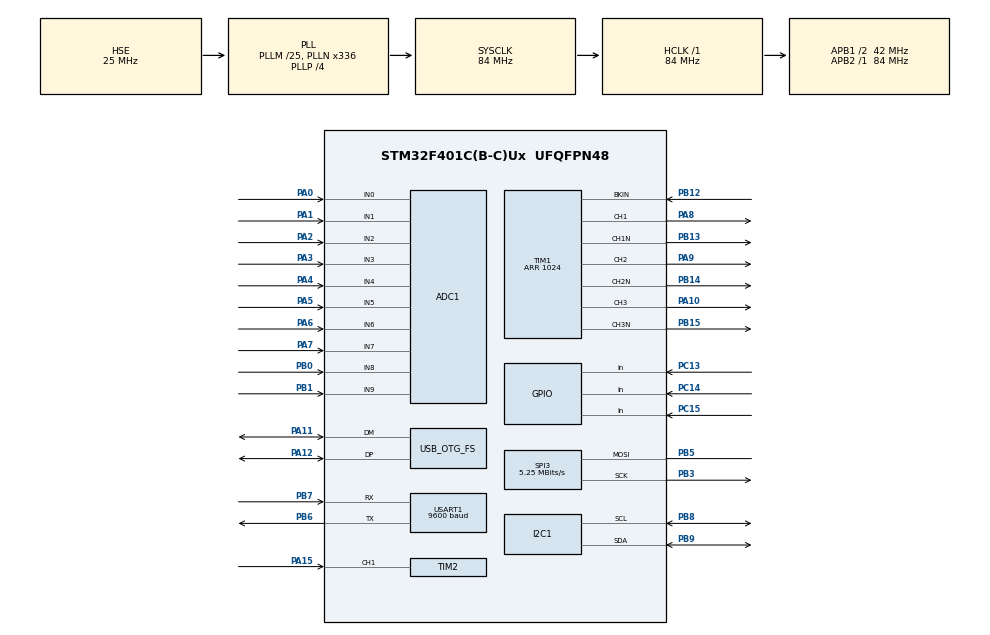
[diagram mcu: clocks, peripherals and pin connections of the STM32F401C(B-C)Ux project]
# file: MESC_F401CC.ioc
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ADC1.Channel-0\#ChannelRegularConversion=ADC_CHANNEL_5
ADC1.Channel-1\#ChannelInjectedConversion=ADC_CHANNEL_2
ADC1.Channel-2\#ChannelInjectedConversion=ADC_CHANNEL_3
ADC1.Channel-3\#ChannelInjectedConversion=ADC_CHANNEL_4
ADC1.Channel-4\#ChannelInjectedConversion=ADC_CHANNEL_1
ADC1.Channel-5\#ChannelRegularConversion=ADC_CHANNEL_6
ADC1.Channel-6\#ChannelRegularConversion=ADC_CHANNEL_8
ADC1.Channel-7\#ChannelRegularConversion=ADC_CHANNEL_0
ADC1.Channel-8\#ChannelRegularConversion=ADC_CHANNEL_7
ADC1.Channel-9\#ChannelRegularConversion=ADC_CHANNEL_9
ADC1.DMAContinuousRequests=ENABLE
ADC1.EOCSelection=ADC_EOC_SEQ_CONV
ADC1.EnableAnalogWatchDog=true
ADC1.ExternalTrigConv=ADC_SOFTWARE_START
ADC1.ExternalTrigInjecConv=ADC_EXTERNALTRIGINJECCONV_T1_TRGO
ADC1.ExternalTrigInjecConvEdge=ADC_EXTERNALTRIGINJECCONVEDGE_RISING
ADC1.HighThreshold=4048
ADC1.ITMode=ENABLE
ADC1.InjNumberOfConversion=4
ADC1.InjectedOffset-1\#ChannelInjectedConversion=0
ADC1.InjectedOffset-2\#ChannelInjectedConversion=0
ADC1.InjectedOffset-3\#ChannelInjectedConversion=0
ADC1.InjectedOffset-4\#ChannelInjectedConversion=0
ADC1.InjectedRank-1\#ChannelInjectedConversion=1
ADC1.InjectedRank-2\#ChannelInjectedConversion=2
ADC1.InjectedRank-3\#ChannelInjectedConversion=3
ADC1.InjectedRank-4\#ChannelInjectedConversion=4
ADC1.LowThreshold=48
ADC1.NbrOfConversion=6
ADC1.NbrOfConversionFlag=1
ADC1.Rank-0\#ChannelRegularConversion=1
ADC1.Rank-5\#ChannelRegularConversion=2
ADC1.Rank-6\#ChannelRegularConversion=3
ADC1.Rank-7\#ChannelRegularConversion=4
ADC1.Rank-8\#ChannelRegularConversion=5
ADC1.Rank-9\#ChannelRegularConversion=6
ADC1.SamplingTime-0\#ChannelRegularConversion=ADC_SAMPLETIME_15CYCLES
ADC1.SamplingTime-1\#ChannelInjectedConversion=ADC_SAMPLETIME_3CYCLES
ADC1.SamplingTime-2\#ChannelInjectedConversion=ADC_SAMPLETIME_3CYCLES
ADC1.SamplingTime-3\#ChannelInjectedConversion=ADC_SAMPLETIME_3CYCLES
ADC1.SamplingTime-4\#ChannelInjectedConversion=ADC_SAMPLETIME_15CYCLES
ADC1.SamplingTime-5\#ChannelRegularConversion=ADC_SAMPLETIME_15CYCLES
ADC1.SamplingTime-6\#ChannelRegularConversion=ADC_SAMPLETIME_15CYCLES
ADC1.SamplingTime-7\#ChannelRegularConversion=ADC_SAMPLETIME_15CYCLES
ADC1.SamplingTime-8\#ChannelRegularConversion=ADC_SAMPLETIME_15CYCLES
ADC1.SamplingTime-9\#ChannelRegularConversion=ADC_SAMPLETIME_15CYCLES
ADC1.ScanConvMode=ENABLE
ADC1.WatchdogMode=ADC_ANALOGWATCHDOG_ALL_INJEC
ADC1.master=1
Dma.ADC1.0.Direction=DMA_PERIPH_TO_MEMORY
Dma.ADC1.0.FIFOMode=DMA_FIFOMODE_DISABLE
Dma.ADC1.0.Instance=DMA2_Stream0
Dma.ADC1.0.MemDataAlignment=DMA_MDATAALIGN_WORD
Dma.ADC1.0.MemInc=DMA_MINC_ENABLE
Dma.ADC1.0.Mode=DMA_CIRCULAR
Dma.ADC1.0.PeriphDataAlignment=DMA_PDATAALIGN_WORD
Dma.ADC1.0.PeriphInc=DMA_PINC_DISABLE
Dma.ADC1.0.Priority=DMA_PRIORITY_LOW
Dma.Request0=ADC1
Dma.Request1=USART1_TX
Dma.USART1_TX.1.Direction=DMA_MEMORY_TO_PERIPH
Dma.USART1_TX.1.FIFOMode=DMA_FIFOMODE_DISABLE
Dma.USART1_TX.1.Instance=DMA2_Stream7
Dma.USART1_TX.1.MemDataAlignment=DMA_MDATAALIGN_BYTE
Dma.USART1_TX.1.MemInc=DMA_MINC_ENABLE
Dma.USART1_TX.1.Mode=DMA_NORMAL
Dma.USART1_TX.1.PeriphDataAlignment=DMA_PDATAALIGN_BYTE
Dma.USART1_TX.1.PeriphInc=DMA_PINC_DISABLE
Dma.USART1_TX.1.Priority=DMA_PRIORITY_LOW
Mcu.Family=STM32F4
Mcu.Name=STM32F401C(B-C)Ux
Mcu.Package=UFQFPN48
NVIC.ADC_IRQn=true\:2\:0\:true\:false\:true\:true\:false\:true
NVIC.DMA2_Stream7_IRQn=true\:6\:0\:true\:false\:true\:true\:true\:true
NVIC.OTG_FS_IRQn=true\:5\:0\:true\:false\:true\:false\:true\:true
NVIC.PriorityGroup=NVIC_PRIORITYGROUP_4
NVIC.TIM1_UP_TIM10_IRQn=true\:1\:0\:true\:false\:true\:true\:false\:true
NVIC.TIM2_IRQn=true\:3\:0\:true\:false\:true\:true\:true\:true
NVIC.USART1_IRQn=true\:4\:0\:true\:false\:true\:true\:false\:true
PA0-WKUP.Signal=ADCx_IN0
PA1.Signal=ADCx_IN1
PA10.Signal=S_TIM1_CH3
PA11.Mode=Device_Only
PA11.Signal=USB_OTG_FS_DM
PA12.Mode=Device_Only
PA12.Signal=USB_OTG_FS_DP
PA13.Mode=Serial_Wire
PA13.Signal=SYS_JTMS-SWDIO
PA14.Mode=Serial_Wire
PA14.Signal=SYS_JTCK-SWCLK
PA15.Signal=S_TIM2_CH1_ETR
PA2.Signal=ADCx_IN2
PA3.Signal=ADCx_IN3
PA4.Signal=ADCx_IN4
PA5.Signal=ADCx_IN5
PA6.Signal=ADCx_IN6
PA7.Signal=ADCx_IN7
PA8.Signal=S_TIM1_CH1
PA9.Signal=S_TIM1_CH2
PB0.Signal=ADCx_IN8
PB1.Signal=ADCx_IN9
PB12.Mode=Activate-Break-Input
PB12.Signal=TIM1_BKIN
PB13.Mode=PWM Generation1 CH1 CH1N
PB13.Signal=TIM1_CH1N
PB14.Mode=PWM Generation2 CH2 CH2N
PB14.Signal=TIM1_CH2N
PB15.Mode=PWM Generation3 CH3 CH3N
PB15.Signal=TIM1_CH3N
PB3.Mode=Simplex_Bidirectional_Master
PB3.Signal=SPI3_SCK
PB4.Signal=SPI3_MISO
PB5.Mode=Simplex_Bidirectional_Master
PB5.Signal=SPI3_MOSI
PB6.Mode=Asynchronous
PB6.Signal=USART1_TX
PB7.Mode=Asynchronous
PB7.Signal=USART1_RX
PB8.Mode=I2C
PB8.Signal=I2C1_SCL
PB9.Mode=I2C
PB9.Signal=I2C1_SDA
PC13-ANTI_TAMP.GPIO_PuPd=GPIO_PULLUP
PC13-ANTI_TAMP.Signal=GPIO_Input
PC14-OSC32_IN.GPIO_PuPd=GPIO_PULLUP
PC14-OSC32_IN.Signal=GPIO_Input
PC15-OSC32_OUT.GPIO_PuPd=GPIO_PULLUP
PC15-OSC32_OUT.Signal=GPIO_Input
PH0\ -\ OSC_IN.Mode=HSE-External-Oscillator
PH0\ -\ OSC_IN.Signal=RCC_OSC_IN
PH1\ -\ OSC_OUT.Mode=HSE-External-Oscillator
PH1\ -\ OSC_OUT.Signal=RCC_OSC_OUT
ProjectManager.HeapSize=0x200
ProjectManager.StackSize=0x400
ProjectManager.TargetToolchain=STM32CubeIDE
RCC.48MHZClocksFreq_Value=48000000
RCC.AHBFreq_Value=84000000
RCC.APB1CLKDivider=RCC_HCLK_DIV2
RCC.APB1Freq_Value=42000000
RCC.APB1TimFreq_Value=84000000
RCC.APB2Freq_Value=84000000
RCC.APB2TimFreq_Value=84000000
RCC.CortexFreq_Value=84000000
RCC.HCLKFreq_Value=84000000
RCC.HSE_VALUE=25000000
RCC.HSI_VALUE=16000000
RCC.LSE_VALUE=32768
RCC.PLLM=25
RCC.PLLN=336
RCC.PLLP=RCC_PLLP_DIV4
RCC.PLLQ=7
RCC.SYSCLKFreq_VALUE=84000000
RCC.SYSCLKSource=RCC_SYSCLKSOURCE_PLLCLK
RCC.VCOOutputFreq_Value=336000000
SH.ADCx_IN0.0=ADC1_IN0,IN0
SH.ADCx_IN1.0=ADC1_IN1,IN1
SH.ADCx_IN2.0=ADC1_IN2,IN2
SH.ADCx_IN3.0=ADC1_IN3,IN3
SH.ADCx_IN4.0=ADC1_IN4,IN4
SH.ADCx_IN5.0=ADC1_IN5,IN5
SH.ADCx_IN6.0=ADC1_IN6,IN6
SH.ADCx_IN7.0=ADC1_IN7,IN7
SH.ADCx_IN8.0=ADC1_IN8,IN8
SH.ADCx_IN9.0=ADC1_IN9,IN9
SH.S_TIM1_CH1.0=TIM1_CH1,PWM Generation1 CH1 CH1N
SH.S_TIM1_CH2.0=TIM1_CH2,PWM Generation2 CH2 CH2N
SH.S_TIM1_CH3.0=TIM1_CH3,PWM Generation3 CH3 CH3N
SH.S_TIM2_CH1_ETR.0=TIM2_CH1,Input_Capture1_from_TI1
SH.S_TIM2_CH1_ETR.1=TIM2_CH1,TriggerSource_TI1FP1
SPI3.BaudRatePrescaler=SPI_BAUDRATEPRESCALER_8
SPI3.CLKPhase=SPI_PHASE_2EDGE
SPI3.CalculateBaudRate=5.25 MBits/s
SPI3.DataSize=SPI_DATASIZE_16BIT
SPI3.Direction=SPI_DIRECTION_1LINE
SPI3.Mode=SPI_MODE_MASTER
SPI3.VirtualType=VM_MASTER
TIM1.BreakPolarity=TIM_BREAKPOLARITY_LOW
TIM1.Channel-PWM\ Generation1\ CH1\ CH1N=TIM_CHANNEL_1
TIM1.Channel-PWM\ Generation2\ CH2\ CH2N=TIM_CHANNEL_2
TIM1.Channel-PWM\ Generation3\ CH3\ CH3N=TIM_CHANNEL_3
TIM1.Channel-PWM\ Generation4\ No\ Output=TIM_CHANNEL_4
TIM1.CounterMode=TIM_COUNTERMODE_CENTERALIGNED1
TIM1.DeadTime=80
TIM1.Period=1024
TIM1.Pulse-PWM\ Generation1\ CH1\ CH1N=512
TIM1.Pulse-PWM\ Generation2\ CH2\ CH2N=512
TIM1.Pulse-PWM\ Generation3\ CH3\ CH3N=512
TIM1.Pulse-PWM\ Generation4\ No\ Output=1023
TIM1.TIM_MasterOutputTrigger=TIM_TRGO_OC4REF
TIM2.Channel-Input_Capture1_from_TI1=TIM_CHANNEL_1
TIM2.Channel-Input_Capture2_from_TI1_63=TIM_CHANNEL_2
TIM2.ICPolarity_CH2=TIM_INPUTCHANNELPOLARITY_FALLING
TIM2.Period=50000
TIM2.Prescaler=83
USART1.BaudRate=9600
USART1.VirtualMode=VM_ASYNC
USB_DEVICE.CLASS_NAME_FS=CDC
USB_DEVICE.VirtualMode=Cdc
USB_DEVICE.VirtualModeFS=Cdc_FS
USB_OTG_FS.VirtualMode=Device_Only
VP_TIM10_VS_ClockSourceINT.Mode=Enable_Timer
VP_TIM1_VS_no_output4.Mode=PWM Generation4 No Output
VP_TIM2_VS_ControllerModeReset.Mode=Reset Mode
VP_TIM2_VS_indirect_ch1.Mode=Input_Capture2_from_TI1_63
VP_USB_DEVICE_VS_USB_DEVICE_CDC_FS.Mode=CDC_FS
board=custom

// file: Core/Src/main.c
/* USER CODE BEGIN Header */
/**
  ******************************************************************************
  * @file           : main.c
  * @brief          : Main program body
  ******************************************************************************
  * @attention
  *
  * Copyright (c) 2022 STMicroelectronics.
  * All rights reserved.
  *
  * This software is licensed under terms that can be found in the LICENSE file
  * in the root directory of this software component.
  * If no LICENSE file comes with this software, it is provided AS-IS.
  *
  ******************************************************************************
  */
/* USER CODE END Header */
#include "main.h"
#include "usb_device.h"

/* USER CODE BEGIN Includes */
#include "MESCprofile.h"
#include "MESCmotor.h"
#include "MESCtemp.h"

#include "MESCuart.h"
#include "Simple_coms.h"

/* USER CODE END Includes */

ADC_HandleTypeDef hadc1;
DMA_HandleTypeDef hdma_adc1;

I2C_HandleTypeDef hi2c1;

SPI_HandleTypeDef hspi3;

TIM_HandleTypeDef htim1;
TIM_HandleTypeDef htim2;
TIM_HandleTypeDef htim10;

UART_HandleTypeDef huart1;
DMA_HandleTypeDef hdma_usart1_tx;

/* USER CODE BEGIN PV */
volatile uint32_t swvcounter;
COMS_data_t com1;

/* USER CODE END PV */

void SystemClock_Config(void);
static void MX_GPIO_Init(void);
static void MX_DMA_Init(void);
static void MX_ADC1_Init(void);
static void MX_TIM1_Init(void);
static void MX_TIM2_Init(void);
static void MX_USART1_UART_Init(void);
static void MX_TIM10_Init(void);
static void MX_I2C1_Init(void);
static void MX_SPI3_Init(void);

int main(void)
{

  /* MCU Configuration--------------------------------------------------------*/

  /* Reset of all peripherals, Initializes the Flash interface and the Systick. */
  HAL_Init();

  /* Configure the system clock */
  SystemClock_Config();

  /* Initialize all configured peripherals */
  MX_GPIO_Init();
  MX_DMA_Init();
  MX_ADC1_Init();
  MX_TIM1_Init();
  MX_TIM2_Init();
  MX_USART1_UART_Init();
  MX_TIM10_Init();
  MX_I2C1_Init();
  MX_USB_DEVICE_Init();
  MX_SPI3_Init();
  /* USER CODE BEGIN 2 */

#ifdef USE_ENCODER
  HAL_SPI_Init(&hspi3);
  GPIO_InitTypeDef GPIO_InitStruct = {0};
  /*Configure GPIO pins : PC6 PC7 PC8 */
    GPIO_InitStruct.Pin = GPIO_PIN_8;
    GPIO_InitStruct.Mode = GPIO_MODE_OUTPUT_PP;
    GPIO_InitStruct.Pull = GPIO_NOPULL;
    HAL_GPIO_Init(GPIOB, &GPIO_InitStruct);
#endif
//  uart_init();

  //Set motor timer
	mtr[0].mtimer = &htim1;
	mtr[0].stimer = &htim2;

//Initialise MESC
motor_init(NULL);
MESCInit(&mtr[0]);

  /* USER CODE END 2 */

  /* Infinite loop */
  /* USER CODE BEGIN WHILE */
  while (1)
  {
	//SimpleComsProcess(&com1);
	HAL_Delay(0);
    /* USER CODE END WHILE */

  }
}

void SystemClock_Config(void)
{
  RCC_OscInitTypeDef RCC_OscInitStruct = {0};
  RCC_ClkInitTypeDef RCC_ClkInitStruct = {0};

  /** Configure the main internal regulator output voltage
  */
  __HAL_RCC_PWR_CLK_ENABLE();
  __HAL_PWR_VOLTAGESCALING_CONFIG(PWR_REGULATOR_VOLTAGE_SCALE2);

  /** Initializes the RCC Oscillators according to the specified parameters
  * in the RCC_OscInitTypeDef structure.
  */
  RCC_OscInitStruct.OscillatorType = RCC_OSCILLATORTYPE_HSE;
  RCC_OscInitStruct.HSEState = RCC_HSE_ON;
  RCC_OscInitStruct.PLL.PLLState = RCC_PLL_ON;
  RCC_OscInitStruct.PLL.PLLSource = RCC_PLLSOURCE_HSE;
  RCC_OscInitStruct.PLL.PLLM = 25;
  RCC_OscInitStruct.PLL.PLLN = 336;
  RCC_OscInitStruct.PLL.PLLP = RCC_PLLP_DIV4;
  RCC_OscInitStruct.PLL.PLLQ = 7;
  if (HAL_RCC_OscConfig(&RCC_OscInitStruct) != HAL_OK)
  {
    Error_Handler();
  }

  /** Initializes the CPU, AHB and APB buses clocks
  */
  RCC_ClkInitStruct.ClockType = RCC_CLOCKTYPE_HCLK|RCC_CLOCKTYPE_SYSCLK
                              |RCC_CLOCKTYPE_PCLK1|RCC_CLOCKTYPE_PCLK2;
  RCC_ClkInitStruct.SYSCLKSource = RCC_SYSCLKSOURCE_PLLCLK;
  RCC_ClkInitStruct.AHBCLKDivider = RCC_SYSCLK_DIV1;
  RCC_ClkInitStruct.APB1CLKDivider = RCC_HCLK_DIV2;
  RCC_ClkInitStruct.APB2CLKDivider = RCC_HCLK_DIV1;

  if (HAL_RCC_ClockConfig(&RCC_ClkInitStruct, FLASH_LATENCY_2) != HAL_OK)
  {
    Error_Handler();
  }
}

static void MX_ADC1_Init(void)
{

  ADC_AnalogWDGConfTypeDef AnalogWDGConfig = {0};
  ADC_ChannelConfTypeDef sConfig = {0};
  ADC_InjectionConfTypeDef sConfigInjected = {0};

  /** Configure the global features of the ADC (Clock, Resolution, Data Alignment and number of conversion)
  */
  hadc1.Instance = ADC1;
  hadc1.Init.ClockPrescaler = ADC_CLOCK_SYNC_PCLK_DIV4;
  hadc1.Init.Resolution = ADC_RESOLUTION_12B;
  hadc1.Init.ScanConvMode = ENABLE;
  hadc1.Init.ContinuousConvMode = DISABLE;
  hadc1.Init.DiscontinuousConvMode = DISABLE;
  hadc1.Init.ExternalTrigConvEdge = ADC_EXTERNALTRIGCONVEDGE_NONE;
  hadc1.Init.ExternalTrigConv = ADC_SOFTWARE_START;
  hadc1.Init.DataAlign = ADC_DATAALIGN_RIGHT;
  hadc1.Init.NbrOfConversion = 6;
  hadc1.Init.DMAContinuousRequests = ENABLE;
  hadc1.Init.EOCSelection = ADC_EOC_SEQ_CONV;
  if (HAL_ADC_Init(&hadc1) != HAL_OK)
  {
    Error_Handler();
  }

  /** Configure the analog watchdog
  */
  AnalogWDGConfig.WatchdogMode = ADC_ANALOGWATCHDOG_ALL_INJEC;
  AnalogWDGConfig.HighThreshold = 4048;
  AnalogWDGConfig.LowThreshold = 48;
  AnalogWDGConfig.ITMode = ENABLE;
  if (HAL_ADC_AnalogWDGConfig(&hadc1, &AnalogWDGConfig) != HAL_OK)
  {
    Error_Handler();
  }

  /** Configure for the selected ADC regular channel its corresponding rank in the sequencer and its sample time.
  */
  sConfig.Channel = ADC_CHANNEL_5;
  sConfig.Rank = 1;
  sConfig.SamplingTime = ADC_SAMPLETIME_15CYCLES;
  if (HAL_ADC_ConfigChannel(&hadc1, &sConfig) != HAL_OK)
  {
    Error_Handler();
  }

  /** Configure for the selected ADC regular channel its corresponding rank in the sequencer and its sample time.
  */
  sConfig.Channel = ADC_CHANNEL_6;
  sConfig.Rank = 2;
  if (HAL_ADC_ConfigChannel(&hadc1, &sConfig) != HAL_OK)
  {
    Error_Handler();
  }

  /** Configure for the selected ADC regular channel its corresponding rank in the sequencer and its sample time.
  */
  sConfig.Channel = ADC_CHANNEL_8;
  sConfig.Rank = 3;
  if (HAL_ADC_ConfigChannel(&hadc1, &sConfig) != HAL_OK)
  {
    Error_Handler();
  }

  /** Configure for the selected ADC regular channel its corresponding rank in the sequencer and its sample time.
  */
  sConfig.Channel = ADC_CHANNEL_0;
  sConfig.Rank = 4;
  if (HAL_ADC_ConfigChannel(&hadc1, &sConfig) != HAL_OK)
  {
    Error_Handler();
  }

  /** Configure for the selected ADC regular channel its corresponding rank in the sequencer and its sample time.
  */
  sConfig.Channel = ADC_CHANNEL_7;
  sConfig.Rank = 5;
  if (HAL_ADC_ConfigChannel(&hadc1, &sConfig) != HAL_OK)
  {
    Error_Handler();
  }

  /** Configure for the selected ADC regular channel its corresponding rank in the sequencer and its sample time.
  */
  sConfig.Channel = ADC_CHANNEL_9;
  sConfig.Rank = 6;
  if (HAL_ADC_ConfigChannel(&hadc1, &sConfig) != HAL_OK)
  {
    Error_Handler();
  }

  /** Configures for the selected ADC injected channel its corresponding rank in the sequencer and its sample time
  */
  sConfigInjected.InjectedChannel = ADC_CHANNEL_2;
  sConfigInjected.InjectedRank = 1;
  sConfigInjected.InjectedNbrOfConversion = 4;
  sConfigInjected.InjectedSamplingTime = ADC_SAMPLETIME_3CYCLES;
  sConfigInjected.ExternalTrigInjecConvEdge = ADC_EXTERNALTRIGINJECCONVEDGE_RISING;
  sConfigInjected.ExternalTrigInjecConv = ADC_EXTERNALTRIGINJECCONV_T1_TRGO;
  sConfigInjected.AutoInjectedConv = DISABLE;
  sConfigInjected.InjectedDiscontinuousConvMode = DISABLE;
  sConfigInjected.InjectedOffset = 0;
  if (HAL_ADCEx_InjectedConfigChannel(&hadc1, &sConfigInjected) != HAL_OK)
  {
    Error_Handler();
  }

  /** Configures for the selected ADC injected channel its corresponding rank in the sequencer and its sample time
  */
  sConfigInjected.InjectedChannel = ADC_CHANNEL_3;
  sConfigInjected.InjectedRank = 2;
  if (HAL_ADCEx_InjectedConfigChannel(&hadc1, &sConfigInjected) != HAL_OK)
  {
    Error_Handler();
  }

  /** Configures for the selected ADC injected channel its corresponding rank in the sequencer and its sample time
  */
  sConfigInjected.InjectedChannel = ADC_CHANNEL_4;
  sConfigInjected.InjectedRank = 3;
  if (HAL_ADCEx_InjectedConfigChannel(&hadc1, &sConfigInjected) != HAL_OK)
  {
    Error_Handler();
  }

  /** Configures for the selected ADC injected channel its corresponding rank in the sequencer and its sample time
  */
  sConfigInjected.InjectedChannel = ADC_CHANNEL_1;
  sConfigInjected.InjectedRank = 4;
  sConfigInjected.InjectedSamplingTime = ADC_SAMPLETIME_15CYCLES;
  if (HAL_ADCEx_InjectedConfigChannel(&hadc1, &sConfigInjected) != HAL_OK)
  {
    Error_Handler();
  }

}

static void MX_I2C1_Init(void)
{

  hi2c1.Instance = I2C1;
  hi2c1.Init.ClockSpeed = 100000;
  hi2c1.Init.DutyCycle = I2C_DUTYCYCLE_2;
  hi2c1.Init.OwnAddress1 = 0;
  hi2c1.Init.AddressingMode = I2C_ADDRESSINGMODE_7BIT;
  hi2c1.Init.DualAddressMode = I2C_DUALADDRESS_DISABLE;
  hi2c1.Init.OwnAddress2 = 0;
  hi2c1.Init.GeneralCallMode = I2C_GENERALCALL_DISABLE;
  hi2c1.Init.NoStretchMode = I2C_NOSTRETCH_DISABLE;
  if (HAL_I2C_Init(&hi2c1) != HAL_OK)
  {
    Error_Handler();
  }

}

static void MX_SPI3_Init(void)
{

  /* SPI3 parameter configuration*/
  hspi3.Instance = SPI3;
  hspi3.Init.Mode = SPI_MODE_MASTER;
  hspi3.Init.Direction = SPI_DIRECTION_1LINE;
  hspi3.Init.DataSize = SPI_DATASIZE_16BIT;
  hspi3.Init.CLKPolarity = SPI_POLARITY_LOW;
  hspi3.Init.CLKPhase = SPI_PHASE_2EDGE;
  hspi3.Init.NSS = SPI_NSS_SOFT;
  hspi3.Init.BaudRatePrescaler = SPI_BAUDRATEPRESCALER_8;
  hspi3.Init.FirstBit = SPI_FIRSTBIT_MSB;
  hspi3.Init.TIMode = SPI_TIMODE_DISABLE;
  hspi3.Init.CRCCalculation = SPI_CRCCALCULATION_DISABLE;
  hspi3.Init.CRCPolynomial = 10;
  if (HAL_SPI_Init(&hspi3) != HAL_OK)
  {
    Error_Handler();
  }

}

static void MX_TIM1_Init(void)
{

  TIM_MasterConfigTypeDef sMasterConfig = {0};
  TIM_OC_InitTypeDef sConfigOC = {0};
  TIM_BreakDeadTimeConfigTypeDef sBreakDeadTimeConfig = {0};

  htim1.Instance = TIM1;
  htim1.Init.Prescaler = 0;
  htim1.Init.CounterMode = TIM_COUNTERMODE_CENTERALIGNED1;
  htim1.Init.Period = 1024;
  htim1.Init.ClockDivision = TIM_CLOCKDIVISION_DIV1;
  htim1.Init.RepetitionCounter = 0;
  htim1.Init.AutoReloadPreload = TIM_AUTORELOAD_PRELOAD_DISABLE;
  if (HAL_TIM_PWM_Init(&htim1) != HAL_OK)
  {
    Error_Handler();
  }
  sMasterConfig.MasterOutputTrigger = TIM_TRGO_OC4REF;
  sMasterConfig.MasterSlaveMode = TIM_MASTERSLAVEMODE_DISABLE;
  if (HAL_TIMEx_MasterConfigSynchronization(&htim1, &sMasterConfig) != HAL_OK)
  {
    Error_Handler();
  }
  sConfigOC.OCMode = TIM_OCMODE_PWM1;
  sConfigOC.Pulse = 512;
  sConfigOC.OCPolarity = TIM_OCPOLARITY_HIGH;
  sConfigOC.OCNPolarity = TIM_OCNPOLARITY_HIGH;
  sConfigOC.OCFastMode = TIM_OCFAST_DISABLE;
  sConfigOC.OCIdleState = TIM_OCIDLESTATE_RESET;
  sConfigOC.OCNIdleState = TIM_OCNIDLESTATE_RESET;
  if (HAL_TIM_PWM_ConfigChannel(&htim1, &sConfigOC, TIM_CHANNEL_1) != HAL_OK)
  {
    Error_Handler();
  }
  if (HAL_TIM_PWM_ConfigChannel(&htim1, &sConfigOC, TIM_CHANNEL_2) != HAL_OK)
  {
    Error_Handler();
  }
  if (HAL_TIM_PWM_ConfigChannel(&htim1, &sConfigOC, TIM_CHANNEL_3) != HAL_OK)
  {
    Error_Handler();
  }
  sConfigOC.Pulse = 1023;
  if (HAL_TIM_PWM_ConfigChannel(&htim1, &sConfigOC, TIM_CHANNEL_4) != HAL_OK)
  {
    Error_Handler();
  }
  sBreakDeadTimeConfig.OffStateRunMode = TIM_OSSR_DISABLE;
  sBreakDeadTimeConfig.OffStateIDLEMode = TIM_OSSI_DISABLE;
  sBreakDeadTimeConfig.LockLevel = TIM_LOCKLEVEL_OFF;
  sBreakDeadTimeConfig.DeadTime = 80;
  sBreakDeadTimeConfig.BreakState = TIM_BREAK_ENABLE;
  sBreakDeadTimeConfig.BreakPolarity = TIM_BREAKPOLARITY_LOW;
  sBreakDeadTimeConfig.AutomaticOutput = TIM_AUTOMATICOUTPUT_DISABLE;
  if (HAL_TIMEx_ConfigBreakDeadTime(&htim1, &sBreakDeadTimeConfig) != HAL_OK)
  {
    Error_Handler();
  }
  HAL_TIM_MspPostInit(&htim1);

}

static void MX_TIM2_Init(void)
{

  TIM_SlaveConfigTypeDef sSlaveConfig = {0};
  TIM_MasterConfigTypeDef sMasterConfig = {0};
  TIM_IC_InitTypeDef sConfigIC = {0};

  htim2.Instance = TIM2;
  htim2.Init.Prescaler = 83;
  htim2.Init.CounterMode = TIM_COUNTERMODE_UP;
  htim2.Init.Period = 50000;
  htim2.Init.ClockDivision = TIM_CLOCKDIVISION_DIV1;
  htim2.Init.AutoReloadPreload = TIM_AUTORELOAD_PRELOAD_DISABLE;
  if (HAL_TIM_Base_Init(&htim2) != HAL_OK)
  {
    Error_Handler();
  }
  if (HAL_TIM_IC_Init(&htim2) != HAL_OK)
  {
    Error_Handler();
  }
  sSlaveConfig.SlaveMode = TIM_SLAVEMODE_RESET;
  sSlaveConfig.InputTrigger = TIM_TS_TI1FP1;
  sSlaveConfig.TriggerPolarity = TIM_INPUTCHANNELPOLARITY_RISING;
  sSlaveConfig.TriggerFilter = 0;
  if (HAL_TIM_SlaveConfigSynchro(&htim2, &sSlaveConfig) != HAL_OK)
  {
    Error_Handler();
  }
  sMasterConfig.MasterOutputTrigger = TIM_TRGO_RESET;
  sMasterConfig.MasterSlaveMode = TIM_MASTERSLAVEMODE_DISABLE;
  if (HAL_TIMEx_MasterConfigSynchronization(&htim2, &sMasterConfig) != HAL_OK)
  {
    Error_Handler();
  }
  sConfigIC.ICPolarity = TIM_INPUTCHANNELPOLARITY_RISING;
  sConfigIC.ICSelection = TIM_ICSELECTION_DIRECTTI;
  sConfigIC.ICPrescaler = TIM_ICPSC_DIV1;
  sConfigIC.ICFilter = 0;
  if (HAL_TIM_IC_ConfigChannel(&htim2, &sConfigIC, TIM_CHANNEL_1) != HAL_OK)
  {
    Error_Handler();
  }
  sConfigIC.ICPolarity = TIM_INPUTCHANNELPOLARITY_FALLING;
  sConfigIC.ICSelection = TIM_ICSELECTION_INDIRECTTI;
  if (HAL_TIM_IC_ConfigChannel(&htim2, &sConfigIC, TIM_CHANNEL_2) != HAL_OK)
  {
    Error_Handler();
  }

}

static void MX_TIM10_Init(void)
{

  htim10.Instance = TIM10;
  htim10.Init.Prescaler = 0;
  htim10.Init.CounterMode = TIM_COUNTERMODE_UP;
  htim10.Init.Period = 65535;
  htim10.Init.ClockDivision = TIM_CLOCKDIVISION_DIV1;
  htim10.Init.AutoReloadPreload = TIM_AUTORELOAD_PRELOAD_DISABLE;
  if (HAL_TIM_Base_Init(&htim10) != HAL_OK)
  {
    Error_Handler();
  }

}

static void MX_USART1_UART_Init(void)
{

  huart1.Instance = USART1;
  huart1.Init.BaudRate = 9600;
  huart1.Init.WordLength = UART_WORDLENGTH_8B;
  huart1.Init.StopBits = UART_STOPBITS_1;
  huart1.Init.Parity = UART_PARITY_NONE;
  huart1.Init.Mode = UART_MODE_TX_RX;
  huart1.Init.HwFlowCtl = UART_HWCONTROL_NONE;
  huart1.Init.OverSampling = UART_OVERSAMPLING_16;
  if (HAL_UART_Init(&huart1) != HAL_OK)
  {
    Error_Handler();
  }

}

static void MX_DMA_Init(void)
{

  /* DMA controller clock enable */
  __HAL_RCC_DMA2_CLK_ENABLE();

  /* DMA interrupt init */
  /* DMA2_Stream7_IRQn interrupt configuration */
  HAL_NVIC_SetPriority(DMA2_Stream7_IRQn, 6, 0);
  HAL_NVIC_EnableIRQ(DMA2_Stream7_IRQn);

}

static void MX_GPIO_Init(void)
{
  GPIO_InitTypeDef GPIO_InitStruct = {0};

  /* GPIO Ports Clock Enable */
  __HAL_RCC_GPIOC_CLK_ENABLE();
  __HAL_RCC_GPIOH_CLK_ENABLE();
  __HAL_RCC_GPIOA_CLK_ENABLE();
  __HAL_RCC_GPIOB_CLK_ENABLE();

  /*Configure GPIO pins : PC13 PC14 PC15 */
  GPIO_InitStruct.Pin = GPIO_PIN_13|GPIO_PIN_14|GPIO_PIN_15;
  GPIO_InitStruct.Mode = GPIO_MODE_INPUT;
  GPIO_InitStruct.Pull = GPIO_PULLUP;
  HAL_GPIO_Init(GPIOC, &GPIO_InitStruct);

}

void Error_Handler(void)
{
  __disable_irq();
  while (1)
  {
  }
}
